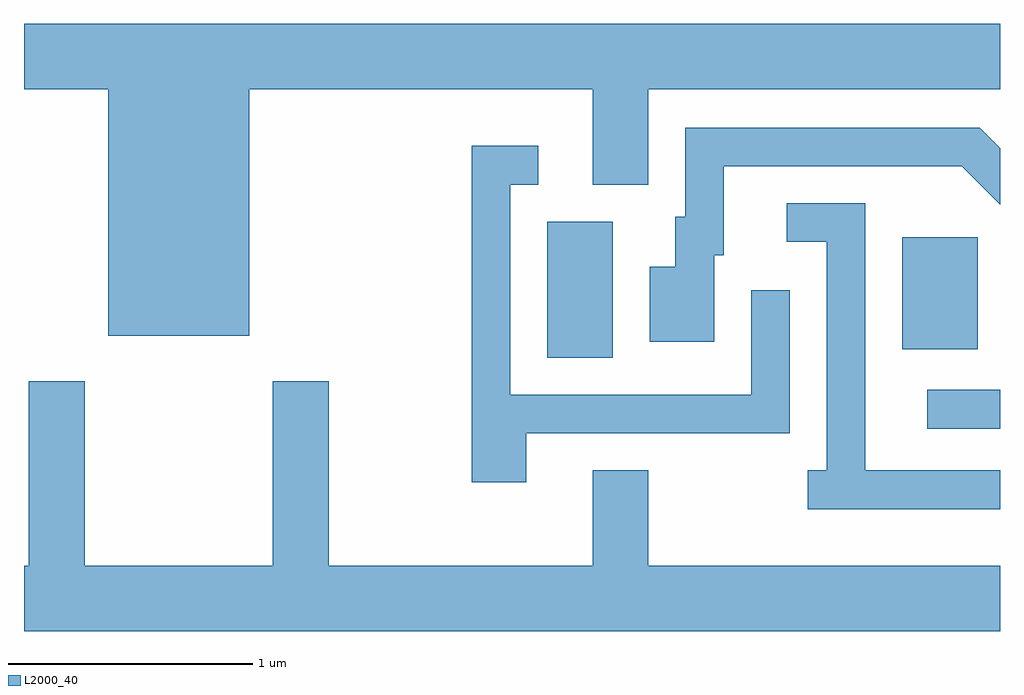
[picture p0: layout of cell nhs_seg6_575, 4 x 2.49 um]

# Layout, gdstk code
import gdstk
lib = gdstk.Library(unit=1e-6, precision=1e-09)
def R(c, l, rs):  # rectangles x0, y0, x1, y1
    for r in rs: c.add(gdstk.rectangle(r[:2], r[2:], *l))
def P(c, l, *ps):  # polygons
    for p in ps: c.add(gdstk.Polygon(p, *l))
L2000_40 = (2000, 40)

nhs_seg6_575 = lib.new_cell('nhs_seg6_575')
R(nhs_seg6_575, L2000_40, [(205.313,1613.026,205.611,1613.184), (203.756,1613.316,204.024,1613.874), (205.211,1613.351,205.519,1613.809)])
P(nhs_seg6_575, L2000_40, [(202.534,1614.416),(203.941,1614.416),(203.941,1614.026),(204.169,1614.026),(204.169,1614.416),(205.611,1614.416),(205.611,1614.684),(201.611,1614.684),(201.611,1614.416),(201.956,1614.416),(201.956,1613.406),(202.534,1613.406)],
  [(204.439,1613.736),(204.479,1613.736),(204.479,1614.101),(205.454,1614.101),(205.611,1613.944),(205.611,1614.175),(205.527,1614.259),(204.321,1614.259),(204.321,1613.894),(204.281,1613.894),(204.281,1613.689),(204.176,1613.689),(204.176,1613.381),(204.439,1613.381)],
  [(203.669,1613.006),(204.749,1613.006),(204.749,1613.593),(204.591,1613.593),(204.591,1613.164),(203.604,1613.164),(203.604,1614.026),(203.718,1614.026),(203.718,1614.184),(203.446,1614.184),(203.446,1612.806),(203.669,1612.806)],
  [(205.611,1612.854),(205.059,1612.854),(205.059,1613.949),(204.738,1613.949),(204.738,1613.791),(204.901,1613.791),(204.901,1612.854),(204.823,1612.854),(204.823,1612.696),(205.611,1612.696)],
  [(205.611,1612.464),(204.169,1612.464),(204.169,1612.854),(203.941,1612.854),(203.941,1612.464),(202.859,1612.464),(202.859,1613.219),(202.631,1613.219),(202.631,1612.464),(201.859,1612.464),(201.859,1613.219),(201.631,1613.219),(201.631,1612.464),(201.611,1612.464),(201.611,1612.196),(205.611,1612.196)])

lib.write_gds('nhs_seg6_575.gds')
